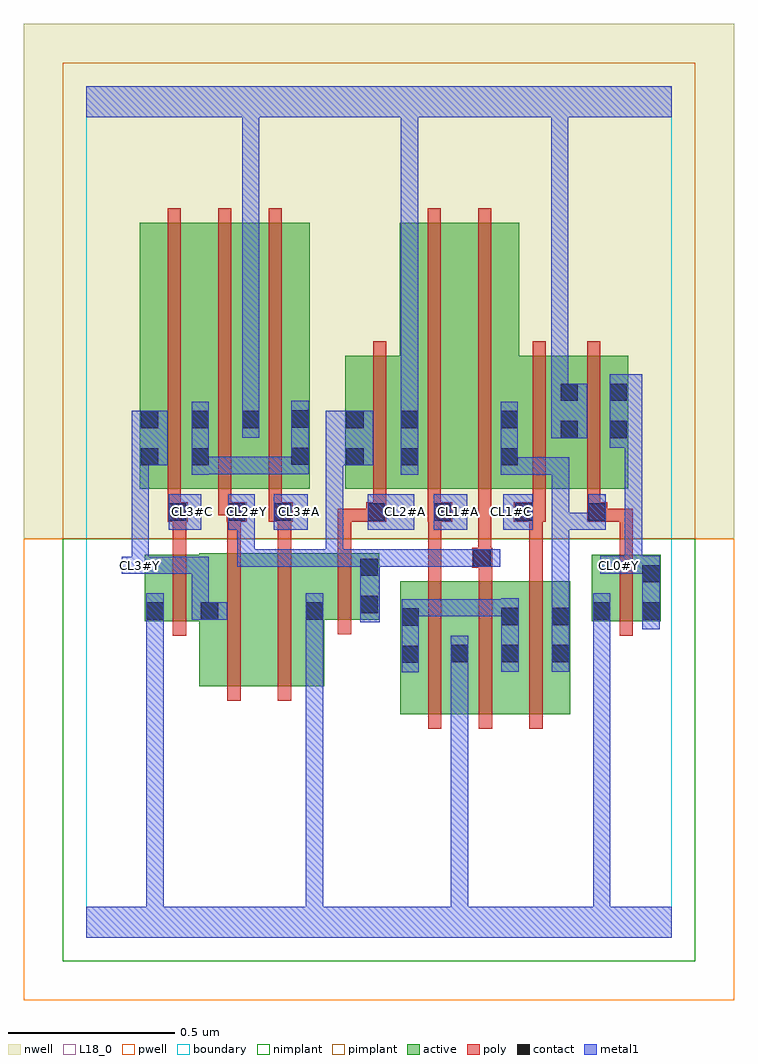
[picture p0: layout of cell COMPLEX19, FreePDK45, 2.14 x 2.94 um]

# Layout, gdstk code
import gdstk
lib = gdstk.Library(unit=1e-6, precision=1e-09)
def R(c, l, rs):  # rectangles x0, y0, x1, y1
    for r in rs: c.add(gdstk.rectangle(r[:2], r[2:], *l))
def A(c, l, x, y, w, h, nx, ny, dx, dy):  # array of equal rectangles
    R(c, l, [(x+i*dx, y+j*dy, x+i*dx+w, y+j*dy+h) for i in range(nx) for j in range(ny)])
active = (1, 0)
pwell = (2, 0)
nwell = (3, 0)
nimplant = (4, 0)
pimplant = (5, 0)
poly = (9, 0)
contact = (10, 0)
metal1 = (11, 0)
L18_0 = (18, 0)
boundary = (235, 0)

complex19 = lib.new_cell('COMPLEX19')
A(complex19, active, 1.092, 0.672, 0.06, 0.4, 3, 1, 0.152, 0)
R(complex19, active, [(0.944,0.672,1.004,1.072), (0.944,0.672,1.152,1.072), (1.092,0.672,1.304,1.072), (1.244,0.672,1.456,1.072), (0.34,0.756,0.52,1.156), (0.52,0.756,0.716,1.156), (0.176,0.952,0.236,1.152), (0.176,0.952,0.4,1.152), (0.34,0.952,0.4,1.152), (0.656,0.952,0.716,1.012), (1.52,0.952,1.58,1.152), (1.52,0.952,1.728,1.152), (1.668,0.952,1.728,1.152), (0.656,0.956,0.88,1.156), (0.82,0.956,0.88,1.156), (0.16,1.35,0.372,2.15), (0.16,1.35,0.22,2.15), (0.312,1.35,0.524,2.15), (0.464,1.35,0.672,2.15), (0.612,1.35,0.672,2.044), (0.778,1.35,0.838,1.75), (0.778,1.35,1.002,1.75), (0.942,1.35,1.122,2.15), (0.942,1.35,1.002,1.708), (1.122,1.35,1.302,2.15), (1.242,1.35,1.482,1.75), (1.422,1.35,1.63,1.75), (1.57,1.35,1.63,1.694), (1.242,1.354,1.302,1.96), (0.312,1.416,0.372,2.044), (1.422,1.492,1.482,1.694), (0.464,1.528,0.524,2.044)])
R(complex19, pwell, [(-0.188,-0.188,1.948,1.2)])
R(complex19, nwell, [(-0.188,1.2,1.948,2.748)])
R(complex19, nimplant, [(-0.072,-0.072,1.832,1.2)])
R(complex19, pimplant, [(-0.072,1.2,1.832,2.632)])
A(complex19, poly, 1.028, 0.628, 0.04, 0.488, 3, 1, 0.152, 0)
A(complex19, poly, 0.244, 1.27, 0.04, 0.076, 3, 1, 0.152, 0)
A(complex19, poly, 0.244, 1.306, 0.04, 0.888, 3, 1, 0.152, 0)
R(complex19, poly, [(0.424,0.712,0.464,1.2), (0.576,0.712,0.616,1.2), (0.26,0.908,0.3,1.196), (1.604,0.908,1.644,1.196), (0.756,0.912,0.796,1.2), (1.028,1.076,1.068,1.29), (1.18,1.076,1.22,1.152), (1.332,1.076,1.372,1.29), (1.16,1.112,1.22,1.172), (1.178,1.132,1.218,1.172), (1.178,1.132,1.218,1.172), (1.178,1.132,1.218,1.346), (0.26,1.156,0.3,1.29), (1.604,1.156,1.644,1.29), (0.424,1.16,0.464,1.29), (0.576,1.16,0.616,1.29), (0.756,1.16,0.796,1.29), (0.244,1.25,0.304,1.31), (0.26,1.25,0.3,1.29), (0.26,1.25,0.3,1.29), (0.422,1.25,0.482,1.31), (0.548,1.25,0.62,1.31), (0.576,1.25,0.616,1.29), (0.576,1.25,0.616,1.29), (0.756,1.25,0.882,1.29), (0.842,1.25,0.882,1.29), (0.842,1.25,0.902,1.31), (1.026,1.25,1.1,1.31), (1.028,1.25,1.068,1.29), (1.028,1.25,1.068,1.29), (1.286,1.25,1.382,1.31), (1.332,1.25,1.372,1.29), (1.332,1.25,1.372,1.29), (1.506,1.25,1.566,1.31), (1.526,1.25,1.566,1.29), (1.526,1.25,1.644,1.29), (0.396,1.27,0.462,1.31), (0.422,1.27,0.462,1.31), (0.862,1.27,0.902,1.346), (1.026,1.27,1.066,1.346), (1.342,1.27,1.382,1.346), (1.506,1.27,1.546,1.346), (0.862,1.306,0.902,1.794), (1.026,1.306,1.066,2.194), (1.178,1.306,1.218,2.194), (1.342,1.306,1.382,1.794), (1.506,1.306,1.546,1.794)])
A(complex19, contact, 1.096, 0.828, 0.052, 0.052, 3, 1, 0.152, 0)
A(complex19, contact, 0.164, 1.532, 0.052, 0.052, 3, 1, 0.152, 0)
R(complex19, contact, [(0.948,0.826,1,0.878), (0.948,0.938,1,0.99), (1.248,0.94,1.3,0.992), (1.4,0.94,1.452,0.992), (0.18,0.956,0.232,1.008), (0.344,0.956,0.396,1.008), (0.66,0.956,0.712,1.008), (1.524,0.956,1.576,1.008), (1.672,0.956,1.724,1.008), (0.824,0.976,0.876,1.028), (1.672,1.068,1.724,1.12), (0.824,1.088,0.876,1.14), (1.164,1.116,1.216,1.168), (0.248,1.254,0.3,1.306), (0.426,1.254,0.478,1.306), (0.564,1.254,0.616,1.306), (0.846,1.254,0.898,1.306), (1.044,1.254,1.096,1.306), (1.29,1.254,1.342,1.306), (1.51,1.254,1.562,1.306), (0.164,1.42,0.216,1.472), (0.316,1.42,0.368,1.472), (0.782,1.42,0.834,1.472), (0.946,1.42,0.998,1.472), (1.246,1.42,1.298,1.472), (0.616,1.422,0.668,1.474), (1.426,1.502,1.478,1.554), (1.574,1.502,1.626,1.554), (0.782,1.532,0.834,1.584), (0.946,1.532,0.998,1.584), (1.246,1.532,1.298,1.584), (0.616,1.534,0.668,1.586), (1.426,1.614,1.478,1.666), (1.574,1.614,1.626,1.666)])
R(complex19, metal1, [(0,0,1.76,0.092), (0.18,0.04,0.232,0.092), (0.18,0.04,0.232,0.092), (0.18,0.04,0.232,0.092), (0.18,0.04,0.232,0.092), (0.18,0.04,0.232,0.092), (0.18,0.04,0.232,0.092), (0.18,0.04,0.232,0.092), (0.18,0.04,0.232,0.092), (0.18,0.04,0.232,0.092), (0.18,0.04,0.232,0.092), (0.18,0.04,0.232,0.092), (0.18,0.04,0.232,0.092), (0.18,0.04,0.232,0.092), (0.18,0.04,0.232,0.092), (0.18,0.04,0.232,0.092), (0.18,0.04,0.232,0.092), (0.18,0.04,0.232,0.98), (0.66,0.04,0.712,0.092), (0.66,0.04,0.712,0.092), (0.66,0.04,0.712,0.092), (0.66,0.04,0.712,0.092), (0.66,0.04,0.712,0.092), (0.66,0.04,0.712,0.092), (0.66,0.04,0.712,0.092), (0.66,0.04,0.712,0.092), (0.66,0.04,0.712,0.092), (0.66,0.04,0.712,0.092), (0.66,0.04,0.712,0.092), (0.66,0.04,0.712,0.092), (0.66,0.04,0.712,0.98), (1.096,0.04,1.148,0.092), (1.096,0.04,1.148,0.092), (1.096,0.04,1.148,0.092), (1.096,0.04,1.148,0.092), (1.096,0.04,1.148,0.092), (1.096,0.04,1.148,0.092), (1.096,0.04,1.148,0.852), (1.524,0.04,1.576,0.092), (1.524,0.04,1.576,0.092), (1.524,0.04,1.576,0.092), (1.524,0.04,1.576,0.092), (1.524,0.04,1.576,0.092), (1.524,0.04,1.576,0.092), (1.524,0.04,1.576,0.092), (1.524,0.04,1.576,0.092), (1.524,0.04,1.576,0.868), (0.948,0.798,1,1.018), (1.096,0.8,1.148,0.852), (1.096,0.8,1.148,0.852), (1.096,0.8,1.148,0.852), (1.096,0.8,1.148,0.852), (1.096,0.8,1.148,0.852), (1.096,0.8,1.148,0.852), (1.096,0.8,1.148,0.908), (1.248,0.8,1.3,1.02), (1.4,0.8,1.452,1.02), (1.524,0.816,1.576,0.868), (1.524,0.816,1.576,0.868), (1.524,0.816,1.576,0.868), (1.524,0.816,1.576,0.868), (1.524,0.816,1.576,0.868), (1.524,0.816,1.576,0.868), (1.524,0.816,1.576,0.868), (1.524,0.816,1.576,0.98), (0.18,0.928,0.232,1.036), (0.66,0.928,0.712,1.036), (1.524,0.928,1.576,1.036), (1.672,0.928,1.724,1.148), (0.824,0.948,0.882,1.168), (0.316,0.956,0.424,1.008), (0.316,0.956,0.368,1.146), (0.948,0.966,1,1.018), (0.948,0.966,1,1.018), (0.948,0.966,1.148,1.018), (1.096,0.966,1.148,1.018), (1.096,0.966,1.148,1.018), (1.096,0.966,1.148,1.018), (1.096,0.966,1.3,1.018), (1.4,0.968,1.452,1.02), (1.4,0.968,1.452,1.02), (1.4,0.968,1.452,1.278), (0.106,1.094,0.214,1.146), (0.136,1.094,0.188,1.472), (0.162,1.094,0.368,1.146), (0.316,1.094,0.368,1.146), (0.316,1.094,0.368,1.146), (0.316,1.094,0.368,1.146), (1.546,1.094,1.724,1.148), (1.62,1.096,1.672,1.526), (1.672,1.096,1.724,1.148), (0.454,1.116,0.662,1.168), (0.454,1.116,0.506,1.278), (0.61,1.116,0.662,1.168), (0.61,1.116,0.662,1.168), (0.61,1.116,0.662,1.168), (0.61,1.116,0.772,1.168), (0.72,1.116,0.772,1.168), (0.72,1.116,0.772,1.168), (0.72,1.116,0.772,1.168), (0.72,1.116,0.882,1.168), (0.72,1.116,0.772,1.472), (0.83,1.116,0.882,1.168), (0.83,1.116,0.882,1.168), (0.83,1.116,0.882,1.168), (0.83,1.116,0.882,1.168), (0.83,1.116,1.038,1.168), (0.986,1.116,1.038,1.168), (0.986,1.116,1.038,1.168), (0.986,1.116,1.038,1.168), (0.986,1.116,1.188,1.168), (1.136,1.116,1.188,1.168), (1.136,1.116,1.188,1.168), (1.136,1.116,1.244,1.168), (0.248,1.226,0.346,1.334), (0.426,1.226,0.506,1.334), (0.454,1.226,0.506,1.278), (0.564,1.226,0.666,1.334), (0.846,1.226,0.986,1.334), (1.044,1.226,1.146,1.334), (1.254,1.226,1.342,1.334), (1.4,1.226,1.452,1.278), (1.4,1.226,1.452,1.278), (1.4,1.226,1.452,1.278), (1.4,1.226,1.562,1.278), (1.4,1.226,1.452,1.444), (1.51,1.226,1.562,1.334), (0.316,1.392,0.368,1.612), (0.946,1.392,0.998,1.612), (1.246,1.392,1.298,1.444), (1.246,1.392,1.298,1.444), (1.246,1.392,1.298,1.612), (1.246,1.392,1.452,1.444), (1.4,1.392,1.452,1.444), (0.316,1.394,0.478,1.446), (0.426,1.394,0.478,1.446), (0.426,1.394,0.478,1.446), (0.426,1.394,0.478,1.446), (0.426,1.394,0.662,1.446), (0.61,1.394,0.662,1.446), (0.61,1.394,0.668,1.446), (0.616,1.394,0.668,1.614), (0.136,1.42,0.188,1.472), (0.136,1.42,0.188,1.472), (0.136,1.42,0.244,1.584), (0.72,1.42,0.862,1.584), (1.574,1.474,1.672,1.694), (1.62,1.474,1.672,1.526), (1.62,1.474,1.672,1.526), (1.398,1.502,1.506,1.666), (0.468,1.504,0.52,1.612), (0.468,1.56,0.52,2.52), (0.946,1.56,0.998,1.612), (0.946,1.56,0.998,1.612), (0.946,1.56,0.998,2.52), (1.398,1.614,1.45,1.666), (1.398,1.614,1.45,1.666), (1.398,1.614,1.45,2.52), (0,2.468,1.76,2.56), (0.468,2.468,0.52,2.52), (0.468,2.468,0.52,2.52), (0.468,2.468,0.52,2.52), (0.468,2.468,0.52,2.52), (0.468,2.468,0.52,2.52), (0.468,2.468,0.52,2.52), (0.468,2.468,0.52,2.52), (0.468,2.468,0.52,2.52), (0.946,2.468,0.998,2.52), (0.946,2.468,0.998,2.52), (0.946,2.468,0.998,2.52), (0.946,2.468,0.998,2.52), (0.946,2.468,0.998,2.52), (0.946,2.468,0.998,2.52), (1.398,2.468,1.45,2.52), (1.398,2.468,1.45,2.52), (1.398,2.468,1.45,2.52), (1.398,2.468,1.45,2.52), (1.398,2.468,1.45,2.52), (1.398,2.468,1.45,2.52), (1.398,2.468,1.45,2.52), (1.398,2.468,1.45,2.52), (1.398,2.468,1.45,2.52), (1.398,2.468,1.45,2.52), (1.398,2.468,1.45,2.52), (1.398,2.468,1.45,2.52), (1.398,2.468,1.45,2.52), (1.398,2.468,1.45,2.52)])
A(complex19, L18_0, 0.294, 1.254, 0.052, 0.052, 3, 1, 0.16, 0)
A(complex19, L18_0, 0.934, 1.254, 0.052, 0.052, 3, 1, 0.16, 0)
R(complex19, L18_0, [(0,0,1.76,0.092), (0.18,0.04,0.232,0.092), (0.18,0.04,0.232,0.092), (0.18,0.04,0.232,0.092), (0.18,0.04,0.232,0.092), (0.18,0.04,0.232,0.092), (0.18,0.04,0.232,0.092), (0.18,0.04,0.232,0.092), (0.18,0.04,0.232,0.092), (0.18,0.04,0.232,0.092), (0.18,0.04,0.232,0.092), (0.18,0.04,0.232,0.092), (0.18,0.04,0.232,0.092), (0.18,0.04,0.232,0.092), (0.18,0.04,0.232,0.092), (0.18,0.04,0.232,0.092), (0.18,0.04,0.232,0.092), (0.18,0.04,0.232,0.98), (0.66,0.04,0.712,0.092), (0.66,0.04,0.712,0.092), (0.66,0.04,0.712,0.092), (0.66,0.04,0.712,0.092), (0.66,0.04,0.712,0.092), (0.66,0.04,0.712,0.092), (0.66,0.04,0.712,0.092), (0.66,0.04,0.712,0.092), (0.66,0.04,0.712,0.092), (0.66,0.04,0.712,0.092), (0.66,0.04,0.712,0.092), (0.66,0.04,0.712,0.092), (0.66,0.04,0.712,0.98), (1.096,0.04,1.148,0.092), (1.096,0.04,1.148,0.092), (1.096,0.04,1.148,0.092), (1.096,0.04,1.148,0.092), (1.096,0.04,1.148,0.092), (1.096,0.04,1.148,0.092), (1.096,0.04,1.148,0.852), (1.524,0.04,1.576,0.092), (1.524,0.04,1.576,0.092), (1.524,0.04,1.576,0.092), (1.524,0.04,1.576,0.092), (1.524,0.04,1.576,0.092), (1.524,0.04,1.576,0.092), (1.524,0.04,1.576,0.092), (1.524,0.04,1.576,0.092), (1.524,0.04,1.576,0.868), (1.096,0.8,1.148,0.852), (1.096,0.8,1.148,0.852), (1.096,0.8,1.148,0.852), (1.096,0.8,1.148,0.852), (1.096,0.8,1.148,0.852), (1.096,0.8,1.148,0.852), (1.096,0.8,1.148,0.908), (1.524,0.816,1.576,0.868), (1.524,0.816,1.576,0.868), (1.524,0.816,1.576,0.868), (1.524,0.816,1.576,0.868), (1.524,0.816,1.576,0.868), (1.524,0.816,1.576,0.868), (1.524,0.816,1.576,0.868), (1.524,0.816,1.576,0.98), (0.18,0.928,0.232,1.036), (0.66,0.928,0.712,1.036), (1.524,0.928,1.576,1.036), (1.672,0.928,1.724,1.148), (0.824,0.948,0.882,1.168), (0.316,0.956,0.424,1.008), (0.316,0.956,0.368,1.146), (0.106,1.094,0.214,1.146), (0.134,1.094,0.186,1.146), (0.136,1.094,0.188,1.472), (0.162,1.094,0.368,1.146), (0.316,1.094,0.368,1.146), (0.316,1.094,0.368,1.146), (0.316,1.094,0.368,1.146), (1.546,1.094,1.724,1.148), (1.574,1.094,1.626,1.146), (1.62,1.096,1.672,1.526), (1.672,1.096,1.724,1.148), (0.454,1.116,0.506,1.278), (0.454,1.116,0.662,1.168), (0.61,1.116,0.662,1.168), (0.61,1.116,0.662,1.168), (0.61,1.116,0.662,1.168), (0.61,1.116,0.772,1.168), (0.72,1.116,0.772,1.168), (0.72,1.116,0.772,1.168), (0.72,1.116,0.772,1.168), (0.72,1.116,0.882,1.168), (0.72,1.116,0.772,1.472), (0.83,1.116,0.882,1.168), (0.83,1.116,0.882,1.168), (0.83,1.116,0.882,1.168), (0.83,1.116,0.882,1.168), (0.83,1.116,1.038,1.168), (0.986,1.116,1.038,1.168), (0.986,1.116,1.038,1.168), (0.986,1.116,1.038,1.168), (0.986,1.116,1.188,1.168), (1.136,1.116,1.188,1.168), (1.136,1.116,1.188,1.168), (1.136,1.116,1.244,1.168), (0.248,1.226,0.346,1.334), (0.426,1.226,0.506,1.334), (0.454,1.226,0.506,1.278), (0.564,1.226,0.666,1.334), (0.846,1.226,0.986,1.334), (1.044,1.226,1.146,1.334), (1.254,1.226,1.342,1.334), (0.946,1.392,0.998,1.612), (0.136,1.42,0.188,1.472), (0.136,1.42,0.188,1.472), (0.136,1.42,0.244,1.584), (0.72,1.42,0.862,1.584), (1.574,1.474,1.672,1.694), (1.62,1.474,1.672,1.526), (1.62,1.474,1.672,1.526), (1.398,1.502,1.506,1.666), (0.468,1.504,0.52,1.612), (0.468,1.56,0.52,2.52), (0.946,1.56,0.998,1.612), (0.946,1.56,0.998,1.612), (0.946,1.56,0.998,2.52), (1.398,1.614,1.45,1.666), (1.398,1.614,1.45,1.666), (1.398,1.614,1.45,2.52), (0,2.468,1.76,2.56), (0.468,2.468,0.52,2.52), (0.468,2.468,0.52,2.52), (0.468,2.468,0.52,2.52), (0.468,2.468,0.52,2.52), (0.468,2.468,0.52,2.52), (0.468,2.468,0.52,2.52), (0.468,2.468,0.52,2.52), (0.468,2.468,0.52,2.52), (0.946,2.468,0.998,2.52), (0.946,2.468,0.998,2.52), (0.946,2.468,0.998,2.52), (0.946,2.468,0.998,2.52), (0.946,2.468,0.998,2.52), (0.946,2.468,0.998,2.52), (1.398,2.468,1.45,2.52), (1.398,2.468,1.45,2.52), (1.398,2.468,1.45,2.52), (1.398,2.468,1.45,2.52), (1.398,2.468,1.45,2.52), (1.398,2.468,1.45,2.52), (1.398,2.468,1.45,2.52), (1.398,2.468,1.45,2.52), (1.398,2.468,1.45,2.52), (1.398,2.468,1.45,2.52), (1.398,2.468,1.45,2.52), (1.398,2.468,1.45,2.52), (1.398,2.468,1.45,2.52), (1.398,2.468,1.45,2.52)])
R(complex19, boundary, [(0,0,1.76,2.56)])
complex19.add(gdstk.Label('CL0#Y', (1.6,1.12), layer=11, texttype=0))
complex19.add(gdstk.Label('CL1#A', (1.12,1.28), layer=11, texttype=0))
complex19.add(gdstk.Label('CL1#C', (1.28,1.28), layer=11, texttype=0))
complex19.add(gdstk.Label('CL2#A', (0.96,1.28), layer=11, texttype=0))
complex19.add(gdstk.Label('CL2#Y', (0.48,1.28), layer=11, texttype=0))
complex19.add(gdstk.Label('CL3#A', (0.64,1.28), layer=11, texttype=0))
complex19.add(gdstk.Label('CL3#C', (0.32,1.28), layer=11, texttype=0))
complex19.add(gdstk.Label('CL3#Y', (0.16,1.12), layer=11, texttype=0))

lib.write_gds('COMPLEX19.gds')
